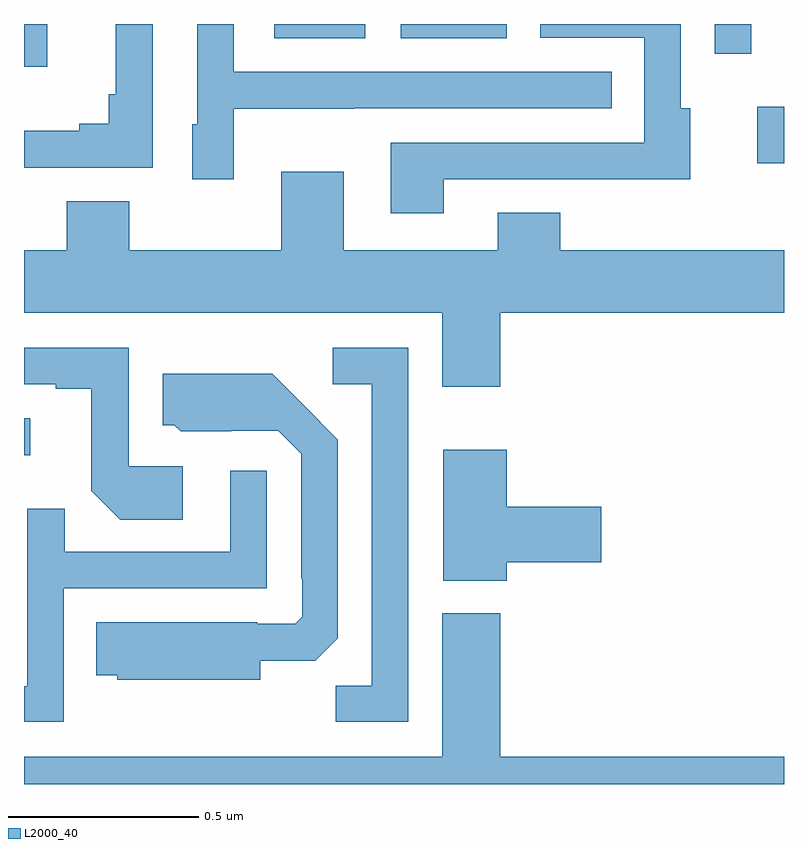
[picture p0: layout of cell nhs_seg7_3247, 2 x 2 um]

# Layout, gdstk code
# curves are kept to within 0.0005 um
import gdstk
lib = gdstk.Library(unit=1e-6, precision=1e-09)
def R(c, l, rs):  # rectangles x0, y0, x1, y1
    for r in rs: c.add(gdstk.rectangle(r[:2], r[2:], *l))
def P(c, l, *ps):  # polygons
    for p in ps: c.add(gdstk.Polygon(p, *l))
L2000_40 = (2000, 40)

nhs_seg7_3247 = lib.new_cell('nhs_seg7_3247')
R(nhs_seg7_3247, L2000_40, [(156,1042.865,156.016,1042.962), (157.929,1043.634,158,1043.782), (156,1043.888,156.061,1044), (157.818,1043.922,157.914,1044), (156.659,1043.963,156.898,1044), (156.992,1043.963,157.27,1044)])
P(nhs_seg7_3247, L2000_40, [(157.105,1043.592),(157.535,1043.592),(157.535,1043.591),(157.753,1043.591),(157.753,1043.778),(157.728,1043.778),(157.728,1044),(157.359,1044),(157.359,1043.964),(157.632,1043.964),(157.632,1043.688),(156.965,1043.688),(156.965,1043.502),(157.105,1043.502)],
  [(156.552,1043.777),(156.869,1043.777),(156.869,1043.778),(157.547,1043.778),(157.547,1043.874),(156.552,1043.874),(156.552,1044),(156.456,1044),(156.456,1043.736),(156.443,1043.736),(156.443,1043.592),(156.552,1043.592)],
  [(156.339,1044),(156.242,1044),(156.242,1043.815),(156.223,1043.815),(156.223,1043.738),(156.146,1043.738),(156.146,1043.719),(156,1043.719),(156,1043.622),(156.339,1043.622)],
  [(157.253,1043.24),(158,1043.24),(158,1043.404),(157.411,1043.404),(157.411,1043.503),(157.247,1043.503),(157.247,1043.404),(156.841,1043.404),(156.841,1043.611),(156.677,1043.611),(156.677,1043.404),(156.277,1043.404),(156.277,1043.533),(156.113,1043.533),(156.113,1043.404),(156,1043.404),(156,1043.24),(157.1,1043.24),(157.1,1043.046),(157.253,1043.046)],
  [(157.011,1043.148),(156.813,1043.148),(156.813,1043.052),(156.915,1043.052),(156.915,1042.259),(156.82,1042.259),(156.82,1042.164),(157.011,1042.164)],
  [(156.418,1042.836),(156.276,1042.836),(156.276,1043.148),(156,1043.148),(156,1043.052),(156.083,1043.052),(156.083,1043.04),(156.177,1043.04),(156.177,1042.772),(156.253,1042.696),(156.418,1042.696)],
  [(156.622,1042.325),(156.766,1042.325),(156.825,1042.384),(156.825,1042.906),(156.653,1043.08),(156.365,1043.08),(156.365,1042.944),(156.396,1042.944),(156.412,1042.928),(156.546,1042.928),(156.546,1042.929),(156.669,1042.929),(156.729,1042.869),(156.729,1042.54),(156.732,1042.54),(156.732,1042.44),(156.714,1042.422),(156.614,1042.422),(156.614,1042.426),(156.19,1042.426),(156.19,1042.286),(156.246,1042.286),(156.246,1042.274),(156.622,1042.274)],
  [(157.27,1042.583),(157.519,1042.583),(157.519,1042.73),(157.27,1042.73),(157.27,1042.879),(157.103,1042.879),(157.103,1042.535),(157.27,1042.535)],
  [(156.105,1042.515),(156.639,1042.515),(156.639,1042.825),(156.543,1042.825),(156.543,1042.611),(156.107,1042.611),(156.107,1042.724),(156.009,1042.724),(156.009,1042.257),(156,1042.257),(156,1042.164),(156.105,1042.164)],
  [(157.1,1042.45),(157.1,1042.072),(156,1042.072),(156,1042),(158,1042),(158,1042.072),(157.253,1042.072),(157.253,1042.45)])

lib.write_gds('nhs_seg7_3247.gds')
